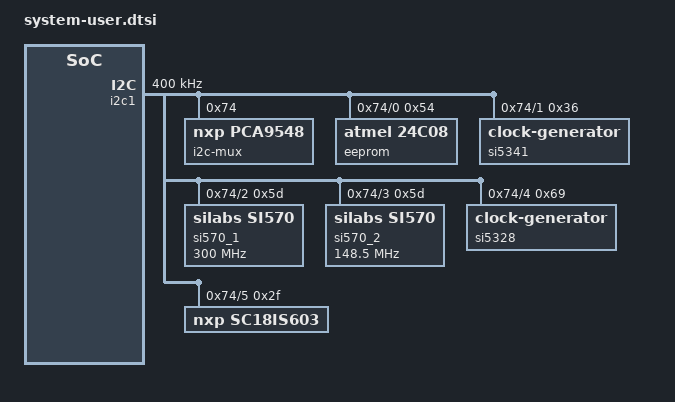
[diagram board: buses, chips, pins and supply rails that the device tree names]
/include/ "system-conf.dtsi"
/ {
	amba_pl@0 {
		data_source_top0:data_source_top@a0000000 {
			compatible = "xlnx,data-source-top-1.0";
			reg = <0x0 0xa0000000 0x0 0x10000>;
		};
	};
};

&i2c1 {
	status = "okay";
	clock-frequency = <400000>;

	i2c-mux@74 { /* u26 */
		compatible = "nxp,pca9548";
		#address-cells = <1>;
		#size-cells = <0>;
		reg = <0x74>;
		i2c@0 {
			#address-cells = <1>;
			#size-cells = <0>;
			reg = <0>;
			/*
			 * IIC_EEPROM 1kB memory which uses 256B blocks
			 * where every block has different address.
			 *    0 - 256B address 0x54
			 * 256B - 512B address 0x55
			 * 512B - 768B address 0x56
			 * 768B - 1024B address 0x57
			 */
			eeprom: eeprom@54 { /* u88 */
				compatible = "atmel,24c08";
				reg = <0x54>;
			};
		};
		i2c@1 {
			#address-cells = <1>;
			#size-cells = <0>;
			reg = <1>;
			si5341: clock-generator@36 { /* SI5341 - u46 */
				reg = <0x36>;
			};

		};
		i2c@2 {
			#address-cells = <1>;
			#size-cells = <0>;
			reg = <2>;
			si570_1: clock-generator@5d { /* USER SI570 - u47 */
				#clock-cells = <0>;
				compatible = "silabs,si570";
				reg = <0x5d>;
				temperature-stability = <50>;
				factory-fout = <300000000>;
				clock-frequency = <300000000>;
			};
		};
		i2c@3 {
			#address-cells = <1>;
			#size-cells = <0>;
			reg = <3>;
			si570_2: clock-generator@5d { /* USER MGT SI570 - u49 */
				#clock-cells = <0>;
				compatible = "silabs,si570";
				reg = <0x5d>;
				temperature-stability = <50>;
				factory-fout = <156250000>;
				clock-frequency = <148500000>;
			};
		};
		i2c@4 {
			#address-cells = <1>;
			#size-cells = <0>;
			reg = <4>;
			si5328: clock-generator@69 { /* SI5328 - u48 */
				reg = <0x69>;
			};
		};
		i2c@5 {
			#address-cells = <1>;
			#size-cells = <0>;
			reg = <5>;
				sc18is603@2f { /* sc18is602 - u93 */
					compatible = "nxp,sc18is603";
					reg = <0x2f>;
					#address-cells = <0x1>;
					#size-cells = <0x0>;
					lmxC@0 {
							compatible = "ti,lmx2594";
							reg = <0x0>;
							spi-max-frequency = <400000>;
							num_bytes = 4;
							};
					lmk@1 {
							compatible = "ti,lmk04208";
							reg = <0x0>;
							spi-max-frequency = <400000>;
							num_bytes = 4;
							};
					lmxB@2 {
							compatible = "ti,lmx2594";
							reg = <0x0>;
							spi-max-frequency = <400000>;
							num_bytes = 4;
							};
					lmxA@3 {
							compatible = "ti,lmx2594";
							reg = <0x0>;
							spi-max-frequency = <400000>;
							num_bytes = 4;
							};
				};
		};
		i2c@6 {
			#address-cells = <1>;
			#size-cells = <0>;
			reg = <6>;
			/* FMC connector */
		};
		/* 7 NC */
	};


